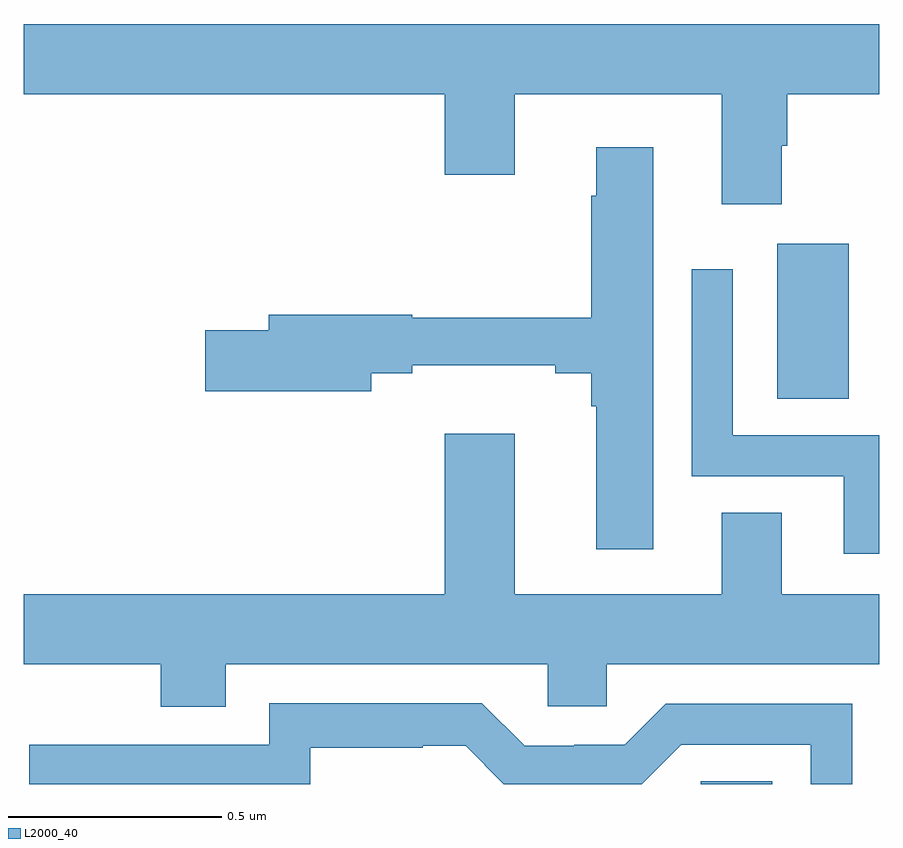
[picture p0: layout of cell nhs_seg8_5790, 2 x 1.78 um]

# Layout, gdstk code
import gdstk
lib = gdstk.Library(unit=1e-6, precision=1e-09)
def R(c, l, rs):  # rectangles x0, y0, x1, y1
    for r in rs: c.add(gdstk.rectangle(r[:2], r[2:], *l))
def P(c, l, *ps):  # polygons
    for p in ps: c.add(gdstk.Polygon(p, *l))
L2000_40 = (2000, 40)

nhs_seg8_5790 = lib.new_cell('nhs_seg8_5790')
R(nhs_seg8_5790, L2000_40, [(189.582,1102.9,189.75,1102.907), (189.761,1103.8,189.928,1104.163)])
P(nhs_seg8_5790, L2000_40, [(189.772,1104.392),(189.785,1104.392),(189.785,1104.512),(190,1104.512),(190,1104.676),(188,1104.676),(188,1104.512),(188.984,1104.512),(188.984,1104.324),(189.148,1104.324),(189.148,1104.512),(189.632,1104.512),(189.632,1104.255),(189.772,1104.255)],
  [(189.472,1104.388),(189.338,1104.388),(189.338,1104.275),(189.326,1104.275),(189.326,1103.989),(188.908,1103.989),(188.908,1103.996),(188.573,1103.996),(188.573,1103.96),(188.424,1103.96),(188.424,1103.818),(188.812,1103.818),(188.812,1103.86),(188.908,1103.86),(188.908,1103.879),(189.242,1103.879),(189.242,1103.86),(189.326,1103.86),(189.326,1103.783),(189.338,1103.783),(189.338,1103.448),(189.472,1103.448)],
  [(190,1103.715),(189.657,1103.715),(189.657,1104.103),(189.561,1104.103),(189.561,1103.619),(189.917,1103.619),(189.917,1103.438),(190,1103.438)],
  [(188.473,1103.18),(189.225,1103.18),(189.225,1103.082),(189.363,1103.082),(189.363,1103.18),(190,1103.18),(190,1103.344),(189.772,1103.344),(189.772,1103.534),(189.632,1103.534),(189.632,1103.344),(189.148,1103.344),(189.148,1103.719),(188.984,1103.719),(188.984,1103.344),(188,1103.344),(188,1103.18),(188.321,1103.18),(188.321,1103.081),(188.473,1103.081)],
  [(188.67,1102.985),(188.933,1102.985),(188.933,1102.989),(189.033,1102.989),(189.122,1102.9),(189.445,1102.9),(189.537,1102.992),(189.84,1102.992),(189.84,1102.9),(189.936,1102.9),(189.936,1103.088),(189.501,1103.088),(189.405,1102.992),(189.287,1102.992),(189.287,1102.989),(189.171,1102.989),(189.071,1103.089),(188.574,1103.089),(188.574,1102.992),(188.013,1102.992),(188.013,1102.9),(188.67,1102.9)])

lib.write_gds('nhs_seg8_5790.gds')
